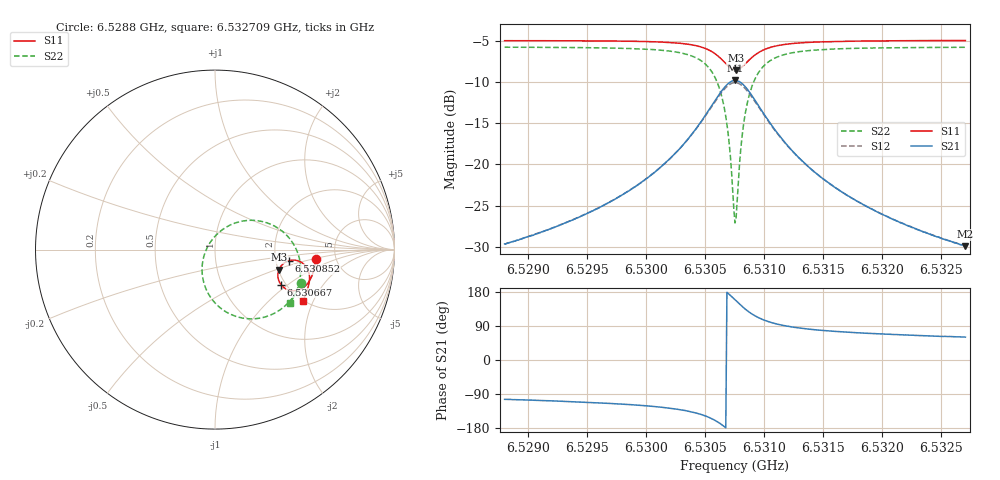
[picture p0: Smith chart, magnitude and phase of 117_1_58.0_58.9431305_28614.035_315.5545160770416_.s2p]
#  HZ  S  RI  R  50.00
! Rohde & Schwarz Vector Network Analyzer
! Rohde-Schwarz,ZNB20-2Port,1311601062101988,3.16
! Created: UTC 3/21/2024, 12:55:27 AM
! freq[Hz]  re:S11  im:S11  re:S21  im:S21  re:S12  im:S12  re:S22  im:S22
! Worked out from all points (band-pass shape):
!   401 points, 6.5288 GHz to 6.532709 GHz, reference 50 ohm
!   highest |S21| = -9.81 dB at 6.530755 GHz (marker M1); lowest = -29.9 dB at 6.532709 GHz (marker M2)
!   |S21| within 3 dB of the highest: 6.53056 GHz to 6.530951 GHz (390.8 kHz wide, 0.00598 % of centre)
!   lowest |S11| = -8.6 dB at 6.530764 GHz (marker M3), VSWR 2.19, Z = 101 - j26.3 ohm
!   |S11| at or under -10 dB: nowhere
!   |S22| runs from -27.1 to -5.8 dB; largest |S21 - S12| = 0.013
!   S11 on the Smith chart (normalised r, x): 6.5288 GHz: 3.48, -0.55; 6.530667 GHz: 1.89, -0.89; 6.530852 GHz: 2.35, -0.35; 6.532709 GHz: 1.99, -1.66
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6.5288004e9  0.5606 -0.0542  -0.00785 -0.0319  -0.00847 -0.0317  0.4805 -0.1833
6.5294551e9  0.5513 -0.1097  -0.0175 -0.0454  -0.0186 -0.0452  0.4482 -0.2457
6.5297971e9  0.5413 -0.1426  -0.0291 -0.0583  -0.0306 -0.0576  0.4173 -0.2866
6.5301097e9  0.5239 -0.1778  -0.0526 -0.078  -0.0549 -0.0766  0.3634 -0.3352
6.5303345e9  0.4967 -0.2084  -0.0941 -0.099  -0.0971 -0.0955  0.2789 -0.3753
6.5305006e9  0.4515 -0.2285  -0.1657 -0.1063  -0.1684 -0.0992  0.1471 -0.3801
6.5305983e9  0.4045 -0.2233  -0.239 -0.0791  -0.2381 -0.0687  0.0246 -0.3203
6.5306667e9  0.3673 -0.1947  -0.2933 -0.0181  -0.2872 -0.00736  -0.0549 -0.2071
6.530696e9  0.3557 -0.1737  -0.3081 0.0221  -0.2991 0.0317  -0.071 -0.1373
6.5307449e9  0.3512 -0.1302  -0.3064 0.1009  -0.2944 0.1059  -0.0524 -0.00876
6.5307547e9  0.3531 -0.1212  -0.3014 0.1166  -0.2893 0.1203  -0.0411 0.0159
6.5307644e9  0.3559 -0.1126  -0.2948 0.1316  -0.2825 0.1344  -0.0274 0.0392
6.5307742e9  0.3597 -0.1042  -0.2866 0.1457  -0.2747 0.1476  -0.0114 0.061
6.5308133e9  0.382 -0.0771  -0.2435 0.192  -0.2334 0.1901  0.0677 0.1281
6.5308524e9  0.41 -0.0621  -0.1924 0.2169  -0.185 0.2132  0.1565 0.1594
6.5309208e9  0.4555 -0.0605  -0.1131 0.2198  -0.1092 0.2162  0.2897 0.149
6.5310185e9  0.4958 -0.0823  -0.0444 0.1878  -0.0427 0.1859  0.4004 0.0787
6.5311651e9  0.5197 -0.1188  -0.00286 0.1392  -0.00141 0.1385  0.4616 -0.0204
6.5314093e9  0.5269 -0.1627  0.0152 0.0911  0.0163 0.0909  0.4775 -0.1214
6.5317122e9  0.5218 -0.2002  0.0183 0.0616  0.0195 0.0615  0.4677 -0.1901
6.532064e9  0.5116 -0.2336  0.0179 0.0439  0.0187 0.0437  0.4502 -0.2399
6.5327089e9  0.4885 -0.284  0.0157 0.0277  0.0162 0.0275  0.4169 -0.2999
